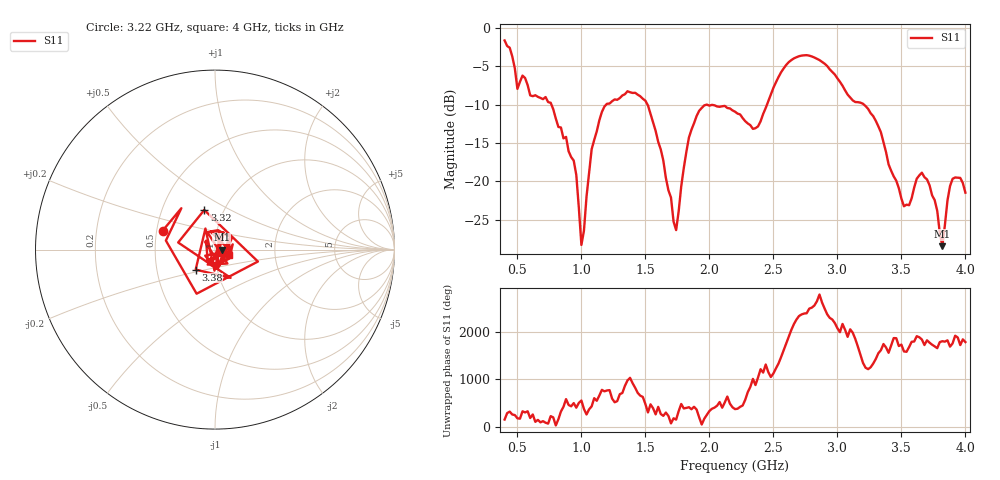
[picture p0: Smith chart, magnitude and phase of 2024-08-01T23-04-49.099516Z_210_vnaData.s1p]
!Created with skrf (http://scikit-rf.org).
# Hz S RI R 50.0
!freq ReS11 ImS11
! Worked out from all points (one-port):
!   181 points, 400 MHz to 4 GHz, reference 50 ohm
!   lowest |S11| = -28.5 dB at 3.82 GHz (marker M1), VSWR 1.08, Z = 53.9 - j0.131 ohm
!   |S11| at or under -10 dB: 1.517 GHz to 1.976 GHz (459.2 MHz wide, 26.3 % of centre); 1.983 GHz to 2.45 GHz (467 MHz wide, 21.1 % of centre); 3.208 GHz to end of sweep (the widest 3 of 4)
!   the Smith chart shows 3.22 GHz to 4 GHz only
!   S11 on the Smith chart (normalised r, x): 3.22 GHz: 0.54, +0.13; 3.32 GHz: 0.81, +0.38; 3.38 GHz: 0.79, -0.18; 4 GHz: 1.17, -0.07
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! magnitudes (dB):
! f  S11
! 400 MHz  -1.6
! 500 MHz  -7.9
! 720 MHz  -9.0
! 860 MHz  -14.4
! 960 MHz  -19.2
! 1 GHz  -28.3
! 1.08 GHz  -15.8
! 1.18 GHz  -10.2
! 1.3 GHz  -9.1
! 1.52 GHz  -10.1
! 1.72 GHz  -25.3
! 1.76 GHz  -23.9
! 1.84 GHz  -14.3
! 1.92 GHz  -10.8
! 2.2 GHz  -10.9
! 2.38 GHz  -12.8
! 2.66 GHz  -3.9
! 2.86 GHz  -4.2
! 3.1 GHz  -9.1
! 3.22 GHz  -10.2
! 3.32 GHz  -12.8
! 3.38 GHz  -16.2
! 3.56 GHz  -23.1
! 3.66 GHz  -18.9
! 3.76 GHz  -22.5
! 3.82 GHz  -28.5
! 3.9 GHz  -19.7
! 4 GHz  -21.5
